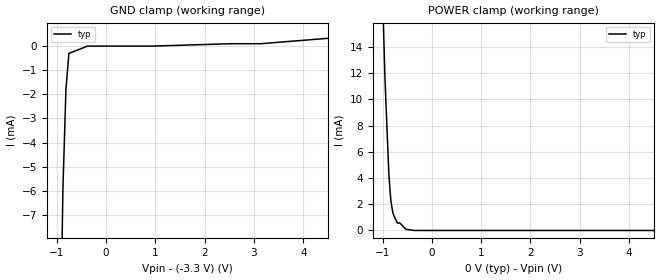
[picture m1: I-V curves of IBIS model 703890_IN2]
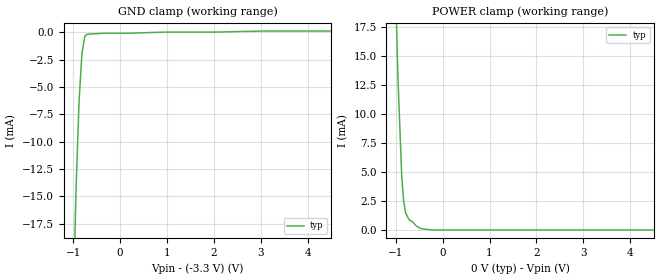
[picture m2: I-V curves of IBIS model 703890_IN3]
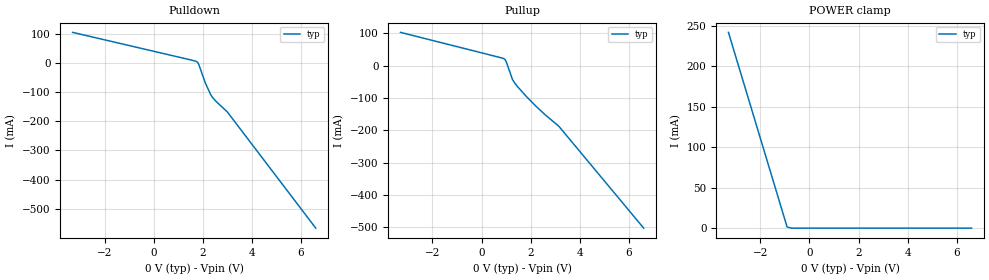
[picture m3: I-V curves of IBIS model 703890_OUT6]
| YOU ARE ONLY AUTHORIZED TO USE THIS SOFTWARE
| ACCORDING TO LICENSOR'S LICENSE RESTRICTIONS.
[IBIS Ver] 3.1
[File Name] mc100lvep16d_-33v.ibs
[File Rev] 2.0
[Source] Measured and created by ICX Technology
[Date] Thursday 5/31/01 4:39:32 PM
[Copyright]
| (C) COPYRIGHT 1993-2001
| MENTOR GRAPHICS CORPORATION
| ICX STANDARD LIBRARY, ICX PROJECT MODELING,
| ICX CUSTOM MODELING, ICX VENDOR MODEL
| ALL RIGHTS RESERVED.
| THE FOLLOWING ARE TRADEMARKS OR SERVICE MARKS OF
| MENTOR GRAPHICS CORPORATION:ICX (R), ICX STANDARD
| LIBRARY(R), ICX PROJECT MODELING(R), ICX CUSTOM
| MODELING(R), qualityIBIS(TM), MODELVIEWER(TM),
| AND MODELEDITOR(TM)
| ALL COPIES OF SOFTWARE, INCLUDING BUT NOT LIMITED TO
| ANY MODIFICATIONS, ENHANCEMENTS OR DERIVATIVE WORKS,
| MUST CONTAIN ALL MENTOR GRAPHICS CORPORATION'S
| NOTICES AND LEGENDS, INCLUDING THOSE EMBEDDED IN
| SOFTWARE AND THOSE AFFIXED TO SOFTWARE MEDIUM
| AND CONTAINER, AS RECEIVED FROM MENTOR GRAPHICS
| CORPORATION.
|  ZAP Model Builder 3.1
[Component] MC100LVEP16D_-33v
[Manufacturer] OnSemico
[Package]
| variable   typ   min   max
R_pkg  .152ohms NA NA
L_pkg  2.714nH NA NA
C_pkg  .364pF NA NA
[Pin] signal_name  model_name  R_pin  L_pin C_pin
1 NC NC .154 2.924n .374p
2 D 703890_IN2 .15 2.504n .354p
3 _D 703890_IN3 .15 2.504n .354p
4 VBB POWER .154 2.924n .374p
5 VEE POWER .154 2.924n .374p
6 _Q 703890_OUT6 .15 2.504n .354p
7 Q 703890_OUT7 .15 2.504n .354p
8 VCC GND .154 2.924n .374p
[Diff Pin] inv_pin vdiff tdelay_typ tdelay_min tdelay_max
2 3 275mV NA NA NA
7 6 NA NA NA NA
| Models and submodels in the file (4): 703890_IN2 (Input_ECL), 703890_IN3 (Input_ECL), 703890_OUT6 (Output_ECL), 703890_OUT7 (Output_ECL)
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| (C) COPYRIGHT 1993-2001
| MENTOR GRAPHICS CORPORATION
| ICX STANDARD LIBRARY, ICX PROJECT MODELING,
| ICX CUSTOM MODELING, ICX VENDOR MODEL
| ALL RIGHTS RESERVED.
| THE FOLLOWING ARE TRADEMARKS OR SERVICE MARKS OF
| MENTOR GRAPHICS CORPORATION:ICX (R), ICX STANDARD
| LIBRARY(R), ICX PROJECT MODELING(R), ICX CUSTOM
| MODELING(R), qualityIBIS(TM), MODELVIEWER(TM),
| AND MODELEDITOR(TM)
| ALL COPIES OF SOFTWARE, INCLUDING BUT NOT LIMITED TO
| ANY MODIFICATIONS, ENHANCEMENTS OR DERIVATIVE WORKS,
| MUST CONTAIN ALL MENTOR GRAPHICS CORPORATION'S
| NOTICES AND LEGENDS, INCLUDING THOSE EMBEDDED IN
| SOFTWARE AND THOSE AFFIXED TO SOFTWARE MEDIUM
| AND CONTAINER, AS RECEIVED FROM MENTOR GRAPHICS
| CORPORATION.
| Model Application Version 1.89 2/18/99.
[Model] 703890_IN2
Model_type Input_ECL
Vinl = -1.625V
Vinh = -1.225V
C_comp 4.000pF NA NA
| variable typ   min   max
[Voltage Range] -3.300V NA NA
[GND Clamp Reference] -3.300V NA NA
[POWER Clamp Reference] 0.000V NA NA
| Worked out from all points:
|   GND clamp passes 1 mA (typ) near -0.78 V on its own axis
|   POWER clamp passes 1 mA (typ) near -0.76 V on its own axis
[GND Clamp]
-3.3V     -315mA     NA         NA
-875mV    -5.9mA     NA         NA
-814mV    -1.8mA     NA         NA
-754mV    -300uA     NA         NA
-377mV    0A         NA         NA
918.5mV   0A         NA         NA
2.53V     100uA      NA         NA
3.138V    100uA      NA         NA
6.6V      669.4uA    NA         NA
[POWER Clamp]
-3.3V     388.7mA    NA         NA
-1.054V   25.3mA     NA         NA
-953mV    11.72mA    NA         NA
-872mV    4.23mA     NA         NA
-831mV    2.237mA    NA         NA
-791mV    1.343mA    NA         NA
-750mV    950uA      NA         NA
-699.5mV  566.6uA    NA         NA
-649mV    566.6uA    NA         NA
-527mV    86.68uA    NA         NA
-351.3mV  0A         NA         NA
6.6V      0A         NA         NA
| (C) COPYRIGHT 1993-2001
| MENTOR GRAPHICS CORPORATION
| ICX STANDARD LIBRARY, ICX PROJECT MODELING,
| ICX CUSTOM MODELING, ICX VENDOR MODEL
| ALL RIGHTS RESERVED.
| THE FOLLOWING ARE TRADEMARKS OR SERVICE MARKS OF
| MENTOR GRAPHICS CORPORATION:ICX (R), ICX STANDARD
| LIBRARY(R), ICX PROJECT MODELING(R), ICX CUSTOM
| MODELING(R), qualityIBIS(TM), MODELVIEWER(TM),
| AND MODELEDITOR(TM)
| ALL COPIES OF SOFTWARE, INCLUDING BUT NOT LIMITED TO
| ANY MODIFICATIONS, ENHANCEMENTS OR DERIVATIVE WORKS,
| MUST CONTAIN ALL MENTOR GRAPHICS CORPORATION'S
| NOTICES AND LEGENDS, INCLUDING THOSE EMBEDDED IN
| SOFTWARE AND THOSE AFFIXED TO SOFTWARE MEDIUM
| AND CONTAINER, AS RECEIVED FROM MENTOR GRAPHICS
| CORPORATION.
| Model Application Version 1.89 2/18/99.
[Model] 703890_IN3
Model_type Input_ECL
Vinl = -1.625V
Vinh = -1.225V
C_comp 4.000pF NA NA
| variable typ   min   max
[Voltage Range] -3.300V NA NA
[GND Clamp Reference] -3.300V NA NA
[POWER Clamp Reference] 0.000V NA NA
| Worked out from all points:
|   GND clamp passes 1 mA (typ) near -0.78 V on its own axis
|   POWER clamp passes 1 mA (typ) near -0.73 V on its own axis
[GND Clamp]
-3.3V     -419.6mA   NA         NA
-936mV    -13.9mA    NA         NA
-875mV    -6.3mA     NA         NA
-815mV    -2mA       NA         NA
-754mV    -400uA     NA         NA
-713mV    -200uA     NA         NA
-356.5mV  -100uA     NA         NA
138.5mV   -100uA     NA         NA
949mV     0A         NA         NA
1.993V    0A         NA         NA
3.037V    100uA      NA         NA
6.6V      100uA      NA         NA
[POWER Clamp]
-3.3V     454.9mA    NA         NA
-1.034V   25.5mA     NA         NA
-953mV    13.2mA     NA         NA
-871mV    4.6mA      NA         NA
-831mV    2.5mA      NA         NA
-791mV    1.5mA      NA         NA
-699.5mV  800uA      NA         NA
-669mV    800uA      NA         NA
-547mV    300uA      NA         NA
-446mV    100uA      NA         NA
-223mV    0A         NA         NA
6.6V      0A         NA         NA
| (C) COPYRIGHT 1993-2001
| MENTOR GRAPHICS CORPORATION
| ICX STANDARD LIBRARY, ICX PROJECT MODELING,
| ICX CUSTOM MODELING, ICX VENDOR MODEL
| ALL RIGHTS RESERVED.
| THE FOLLOWING ARE TRADEMARKS OR SERVICE MARKS OF
| MENTOR GRAPHICS CORPORATION:ICX (R), ICX STANDARD
| LIBRARY(R), ICX PROJECT MODELING(R), ICX CUSTOM
| MODELING(R), qualityIBIS(TM), MODELVIEWER(TM),
| AND MODELEDITOR(TM)
| ALL COPIES OF SOFTWARE, INCLUDING BUT NOT LIMITED TO
| ANY MODIFICATIONS, ENHANCEMENTS OR DERIVATIVE WORKS,
| MUST CONTAIN ALL MENTOR GRAPHICS CORPORATION'S
| NOTICES AND LEGENDS, INCLUDING THOSE EMBEDDED IN
| SOFTWARE AND THOSE AFFIXED TO SOFTWARE MEDIUM
| AND CONTAINER, AS RECEIVED FROM MENTOR GRAPHICS
| CORPORATION.
| Model Application Version 1.89 2/18/99.
[Model] 703890_OUT6
Model_type Output_ECL
Vref=-2.000V
Rref=50.00ohms
Cref=0.000F
Vmeas=-1.420V
C_comp 6.000pF NA NA
| variable typ   min   max
[Voltage Range] -3.300V NA NA
[POWER Clamp Reference] 0.000V NA NA
[Pullup Reference] 0.000V NA NA
[Pulldown Reference] 0.000V NA NA
[GND Clamp Reference] -3.300V NA NA
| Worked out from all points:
|   POWER clamp passes 1 mA (typ) near -0.86 V on its own axis
[GND Clamp]
-3.3V     0A         NA         NA
6.6V      0A         NA         NA
[Pulldown]
-3.3V     104.3mA    NA         NA
1.52V     9.8mA      NA         NA
1.702V    5.9mA      NA         NA
1.763V    3.5mA      NA         NA
1.804V    -300uA     NA         NA
1.844V    -7.1mA     NA         NA
2.108V    -70mA      NA         NA
2.331V    -110.2mA   NA         NA
2.412V    -120.1mA   NA         NA
2.533V    -131.4mA   NA         NA
3V        -168.3mA   NA         NA
6.6V      -566.2mA   NA         NA
[Pullup]
-3.3V     103.2mA    NA         NA
932mV     20.5mA     NA         NA
1.013V    10.5mA     NA         NA
1.256V    -42.3mA    NA         NA
1.459V    -64.4mA    NA         NA
2.209V    -125.1mA   NA         NA
3.142V    -187.3mA   NA         NA
6.6V      -503.2mA   NA         NA
[POWER Clamp]
-3.3V     241.9mA    NA         NA
-912mV    1.432mA    NA         NA
-729.6mV  0A         NA         NA
6.6V      0A         NA         NA
[Ramp]
| variable typ min max
dV/dt_r 409.6m/92.69p NA NA
dV/dt_f 409.6m/125.5p NA NA
R_load = 50.00Ohms
